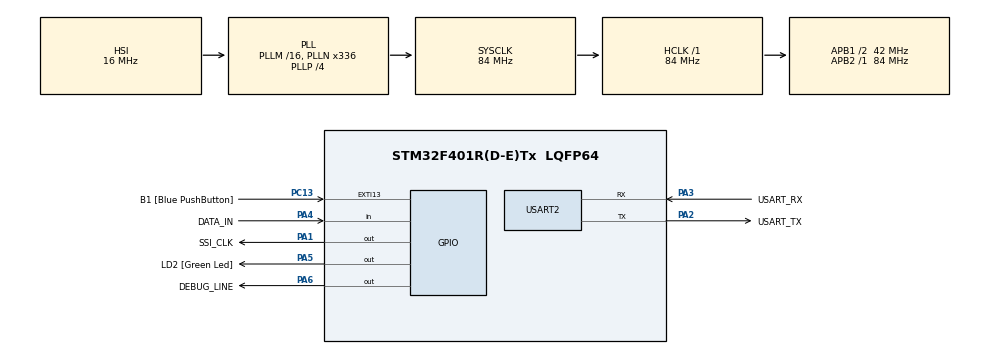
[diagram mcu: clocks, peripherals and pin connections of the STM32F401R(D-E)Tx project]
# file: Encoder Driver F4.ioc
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Mcu.Family=STM32F4
Mcu.Name=STM32F401R(D-E)Tx
Mcu.Package=LQFP64
NVIC.EXTI15_10_IRQn=true\:0\:0\:false\:false\:true\:true\:true
NVIC.PriorityGroup=NVIC_PRIORITYGROUP_0
PA1.GPIO_Label=SSI_CLK
PA1.GPIO_PuPd=GPIO_PULLUP
PA1.Signal=GPIO_Output
PA13.GPIO_Label=TMS
PA13.Mode=Serial_Wire
PA13.Signal=SYS_JTMS-SWDIO
PA14.GPIO_Label=TCK
PA14.Mode=Serial_Wire
PA14.Signal=SYS_JTCK-SWCLK
PA2.GPIO_Label=USART_TX
PA2.GPIO_Mode=GPIO_MODE_AF_PP
PA2.GPIO_PuPd=GPIO_NOPULL
PA2.GPIO_Speed=GPIO_SPEED_FREQ_LOW
PA2.Mode=Asynchronous
PA2.Signal=USART2_TX
PA3.GPIO_Label=USART_RX
PA3.GPIO_Mode=GPIO_MODE_AF_PP
PA3.GPIO_PuPd=GPIO_NOPULL
PA3.GPIO_Speed=GPIO_SPEED_FREQ_LOW
PA3.Mode=Asynchronous
PA3.Signal=USART2_RX
PA4.GPIO_Label=DATA_IN
PA4.Signal=GPIO_Input
PA5.GPIO_Label=LD2 [Green Led]
PA5.GPIO_Mode=GPIO_MODE_OUTPUT_PP
PA5.GPIO_PuPd=GPIO_NOPULL
PA5.GPIO_Speed=GPIO_SPEED_FREQ_LOW
PA5.Signal=GPIO_Output
PA6.GPIO_Label=DEBUG_LINE
PA6.Signal=GPIO_Output
PB3.GPIO_Label=SWO
PB3.Signal=SYS_JTDO-SWO
PC13-ANTI_TAMP.GPIO_Label=B1 [Blue PushButton]
PC13-ANTI_TAMP.GPIO_ModeDefaultEXTI=GPIO_MODE_IT_FALLING
PC13-ANTI_TAMP.GPIO_PuPd=GPIO_NOPULL
PC13-ANTI_TAMP.Signal=GPXTI13
PC14-OSC32_IN.Mode=LSE-External-Oscillator
PC14-OSC32_IN.Signal=RCC_OSC32_IN
PC15-OSC32_OUT.Mode=LSE-External-Oscillator
PC15-OSC32_OUT.Signal=RCC_OSC32_OUT
PH0\ -\ OSC_IN.Mode=HSE-External-Clock-Source
PH0\ -\ OSC_IN.Signal=RCC_OSC_IN
PH1\ -\ OSC_OUT.Mode=HSE-External-Clock-Source
PH1\ -\ OSC_OUT.Signal=RCC_OSC_OUT
ProjectManager.HeapSize=0x200
ProjectManager.StackSize=0x400
ProjectManager.TargetToolchain=STM32CubeIDE
RCC.48MHZClocksFreq_Value=48000000
RCC.AHBFreq_Value=84000000
RCC.APB1CLKDivider=RCC_HCLK_DIV2
RCC.APB1Freq_Value=42000000
RCC.APB1TimFreq_Value=84000000
RCC.APB2Freq_Value=84000000
RCC.APB2TimFreq_Value=84000000
RCC.CortexFreq_Value=84000000
RCC.HCLKFreq_Value=84000000
RCC.HSE_VALUE=8000000
RCC.HSI_VALUE=16000000
RCC.PLLN=336
RCC.PLLP=RCC_PLLP_DIV4
RCC.PLLQ=7
RCC.SYSCLKFreq_VALUE=84000000
RCC.SYSCLKSource=RCC_SYSCLKSOURCE_PLLCLK
RCC.VCOOutputFreq_Value=336000000
USART2.VirtualMode=VM_ASYNC
VP_TIM11_VS_ClockSourceINT.Mode=Enable_Timer
board=NUCLEO-F401RE

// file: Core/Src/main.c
/* USER CODE BEGIN Header */
/**
  ******************************************************************************
  * @file           : main.c
  * @brief          : Main program body
  ******************************************************************************
  * @attention
  *
  * <h2><center>&copy; Copyright (c) 2022 STMicroelectronics.
  * All rights reserved.</center></h2>
  *
  * This software component is licensed by ST under BSD 3-Clause license,
  * the "License"; You may not use this file except in compliance with the
  * License. You may obtain a copy of the License at:
  *                        opensource.org/licenses/BSD-3-Clause
  *
  ******************************************************************************
 * WDGA 36A-06-1312-SIA-B01-CB8 - Magnetic Absolute Encoder Binary/SSI 25 BIT
 *	13 BIT SINGLETURN
 *	12 BIT MULTITURN
 TODO dal clock dello ioc calcolare in automatico la frewuenza del clock generato
  */
/* USER CODE END Header */
#include "main.h"

/* USER CODE BEGIN Includes */
#include <stdio.h>
#include <string.h>
/* USER CODE END Includes */

/* USER CODE BEGIN PD */
#define WORK
#define N_BIT 52
/* USER CODE END PD */

TIM_HandleTypeDef htim11;

UART_HandleTypeDef huart2;

void SystemClock_Config(void);
static void MX_GPIO_Init(void);
static void MX_USART2_UART_Init(void);
static void MX_TIM11_Init(void);
/* USER CODE BEGIN PFP */
void setInitialClockState( GPIO_PinState PinState);
void runClock();
void readEncoderBit(GPIO_TypeDef*, uint16_t);
void println(UART_HandleTypeDef *, char[]);
void nop(uint16_t);
/* USER CODE END PFP */

/* USER CODE BEGIN 0 */
typedef struct{
	uint64_t totalBits;
	uint64_t STbits;
	uint64_t MTbits;
} encoderStruct;

encoderStruct encoder;
/* USER CODE END 0 */

int main(void)
{

  /* MCU Configuration--------------------------------------------------------*/

  /* Reset of all peripherals, Initializes the Flash interface and the Systick. */
  HAL_Init();

  /* Configure the system clock */
  SystemClock_Config();

  /* Initialize all configured peripherals */
  MX_GPIO_Init();
  MX_USART2_UART_Init();
  MX_TIM11_Init();
  /* USER CODE BEGIN 2 */
  //setInitialClockState(GPIO_PIN_SET);
  HAL_GPIO_WritePin(DEBUG_LINE_GPIO_Port, DEBUG_LINE_Pin, GPIO_PIN_RESET);
  HAL_GPIO_WritePin(SSI_CLK_GPIO_Port,  SSI_CLK_Pin, GPIO_PIN_SET);
  HAL_Delay(100);
  /* USER CODE END 2 */

  /* Infinite loop */
  /* USER CODE BEGIN WHILE */
  while (1)
  {
	 runClock();
	 //HAL_Delay(100);
	 nop(500);

    /* USER CODE END WHILE */

  }
}

void SystemClock_Config(void)
{
  RCC_OscInitTypeDef RCC_OscInitStruct = {0};
  RCC_ClkInitTypeDef RCC_ClkInitStruct = {0};

  /** Configure the main internal regulator output voltage
  */
  __HAL_RCC_PWR_CLK_ENABLE();
  __HAL_PWR_VOLTAGESCALING_CONFIG(PWR_REGULATOR_VOLTAGE_SCALE2);
  /** Initializes the RCC Oscillators according to the specified parameters
  * in the RCC_OscInitTypeDef structure.
  */
  RCC_OscInitStruct.OscillatorType = RCC_OSCILLATORTYPE_HSI;
  RCC_OscInitStruct.HSIState = RCC_HSI_ON;
  RCC_OscInitStruct.HSICalibrationValue = RCC_HSICALIBRATION_DEFAULT;
  RCC_OscInitStruct.PLL.PLLState = RCC_PLL_ON;
  RCC_OscInitStruct.PLL.PLLSource = RCC_PLLSOURCE_HSI;
  RCC_OscInitStruct.PLL.PLLM = 16;
  RCC_OscInitStruct.PLL.PLLN = 336;
  RCC_OscInitStruct.PLL.PLLP = RCC_PLLP_DIV4;
  RCC_OscInitStruct.PLL.PLLQ = 7;
  if (HAL_RCC_OscConfig(&RCC_OscInitStruct) != HAL_OK)
  {
    Error_Handler();
  }
  /** Initializes the CPU, AHB and APB buses clocks
  */
  RCC_ClkInitStruct.ClockType = RCC_CLOCKTYPE_HCLK|RCC_CLOCKTYPE_SYSCLK
                              |RCC_CLOCKTYPE_PCLK1|RCC_CLOCKTYPE_PCLK2;
  RCC_ClkInitStruct.SYSCLKSource = RCC_SYSCLKSOURCE_PLLCLK;
  RCC_ClkInitStruct.AHBCLKDivider = RCC_SYSCLK_DIV1;
  RCC_ClkInitStruct.APB1CLKDivider = RCC_HCLK_DIV2;
  RCC_ClkInitStruct.APB2CLKDivider = RCC_HCLK_DIV1;

  if (HAL_RCC_ClockConfig(&RCC_ClkInitStruct, FLASH_LATENCY_2) != HAL_OK)
  {
    Error_Handler();
  }
}

static void MX_TIM11_Init(void)
{

  htim11.Instance = TIM11;
  htim11.Init.Prescaler = 0;
  htim11.Init.CounterMode = TIM_COUNTERMODE_UP;
  htim11.Init.Period = 65535;
  htim11.Init.ClockDivision = TIM_CLOCKDIVISION_DIV1;
  htim11.Init.AutoReloadPreload = TIM_AUTORELOAD_PRELOAD_DISABLE;
  if (HAL_TIM_Base_Init(&htim11) != HAL_OK)
  {
    Error_Handler();
  }

}

static void MX_USART2_UART_Init(void)
{

  huart2.Instance = USART2;
  huart2.Init.BaudRate = 115200;
  huart2.Init.WordLength = UART_WORDLENGTH_8B;
  huart2.Init.StopBits = UART_STOPBITS_1;
  huart2.Init.Parity = UART_PARITY_NONE;
  huart2.Init.Mode = UART_MODE_TX_RX;
  huart2.Init.HwFlowCtl = UART_HWCONTROL_NONE;
  huart2.Init.OverSampling = UART_OVERSAMPLING_16;
  if (HAL_UART_Init(&huart2) != HAL_OK)
  {
    Error_Handler();
  }

}

static void MX_GPIO_Init(void)
{
  GPIO_InitTypeDef GPIO_InitStruct = {0};

  /* GPIO Ports Clock Enable */
  __HAL_RCC_GPIOC_CLK_ENABLE();
  __HAL_RCC_GPIOH_CLK_ENABLE();
  __HAL_RCC_GPIOA_CLK_ENABLE();
  __HAL_RCC_GPIOB_CLK_ENABLE();

  /*Configure GPIO pin Output Level */
  HAL_GPIO_WritePin(GPIOA, SSI_CLK_Pin|LD2_Pin|DEBUG_LINE_Pin, GPIO_PIN_RESET);

  /*Configure GPIO pin : B1_Pin */
  GPIO_InitStruct.Pin = B1_Pin;
  GPIO_InitStruct.Mode = GPIO_MODE_IT_FALLING;
  GPIO_InitStruct.Pull = GPIO_NOPULL;
  HAL_GPIO_Init(B1_GPIO_Port, &GPIO_InitStruct);

  /*Configure GPIO pin : SSI_CLK_Pin */
  GPIO_InitStruct.Pin = SSI_CLK_Pin;
  GPIO_InitStruct.Mode = GPIO_MODE_OUTPUT_PP;
  GPIO_InitStruct.Pull = GPIO_PULLUP;
  GPIO_InitStruct.Speed = GPIO_SPEED_FREQ_LOW;
  HAL_GPIO_Init(SSI_CLK_GPIO_Port, &GPIO_InitStruct);

  /*Configure GPIO pin : DATA_IN_Pin */
  GPIO_InitStruct.Pin = DATA_IN_Pin;
  GPIO_InitStruct.Mode = GPIO_MODE_INPUT;
  GPIO_InitStruct.Pull = GPIO_NOPULL;
  HAL_GPIO_Init(DATA_IN_GPIO_Port, &GPIO_InitStruct);

  /*Configure GPIO pins : LD2_Pin DEBUG_LINE_Pin */
  GPIO_InitStruct.Pin = LD2_Pin|DEBUG_LINE_Pin;
  GPIO_InitStruct.Mode = GPIO_MODE_OUTPUT_PP;
  GPIO_InitStruct.Pull = GPIO_NOPULL;
  GPIO_InitStruct.Speed = GPIO_SPEED_FREQ_LOW;
  HAL_GPIO_Init(GPIOA, &GPIO_InitStruct);

  /* EXTI interrupt init*/
  HAL_NVIC_SetPriority(EXTI15_10_IRQn, 0, 0);
  HAL_NVIC_EnableIRQ(EXTI15_10_IRQn);

}

/* USER CODE BEGIN 4 */
#ifdef WORK
void setInitialClockState( GPIO_PinState PinState){
	if(PinState==GPIO_PIN_RESET || PinState==GPIO_PIN_SET){
		  HAL_GPIO_WritePin(SSI_CLK_GPIO_Port,  SSI_CLK_Pin, PinState);
	}else{
		printf("error");
	}
}

void runClock(){
	// Inizio trasmissione
	encoder.totalBits = 0U;
	for(int i=0; i<N_BIT; i++) {
		HAL_GPIO_WritePin(SSI_CLK_GPIO_Port, SSI_CLK_Pin, GPIO_PIN_RESET);
		nop(4);
		HAL_GPIO_WritePin(SSI_CLK_GPIO_Port, SSI_CLK_Pin, GPIO_PIN_SET);
		nop(6);
		HAL_GPIO_WritePin(DEBUG_LINE_GPIO_Port, DEBUG_LINE_Pin, GPIO_PIN_SET);
		readEncoderBit(DATA_IN_GPIO_Port, DATA_IN_Pin);
		HAL_GPIO_WritePin(DEBUG_LINE_GPIO_Port, DEBUG_LINE_Pin, GPIO_PIN_RESET);
		nop(2);
		//HAL_GPIO_WritePin(SSI_CLK_GPIO_Port, SSI_CLK_Pin, GPIO_PIN_RESET);
		//nop(1);
	}
	HAL_GPIO_WritePin(SSI_CLK_GPIO_Port, SSI_CLK_Pin, GPIO_PIN_SET);
	//encoder.STbits = (encoder.totalBits & 0x1FFF000) >> 12; //primi 13 bit di maschera Single turn
	//encoder.MTbits = (encoder.totalBits & 0xFFF); //12 bit di maschera Multi turn
	//printf(".");
	//println(&huart2, stbit);
}

void readEncoderBit(GPIO_TypeDef* GPIOx, uint16_t GPIO_Pin){
	encoder.totalBits <<= 1;
	if(HAL_GPIO_ReadPin(GPIOx, GPIO_Pin) == GPIO_PIN_SET){
		encoder.totalBits |= 1;
	}
}
void println(UART_HandleTypeDef *huart, char out[]){
	HAL_UART_Transmit(huart, (uint8_t *) out, strlen(out), 10);
	char newline[2] = "\r\n";
	HAL_UART_Transmit(huart, (uint8_t *) newline, 2, 10);
}

void nop(uint16_t N){
	for(int i=0; i<N; i++){
		 __asm("nop"); //1/84Mhz=1.25x10e-8s
	}
}
#endif
/* USER CODE END 4 */

void Error_Handler(void)
{
  __disable_irq();
  while (1)
  {
  }
}
